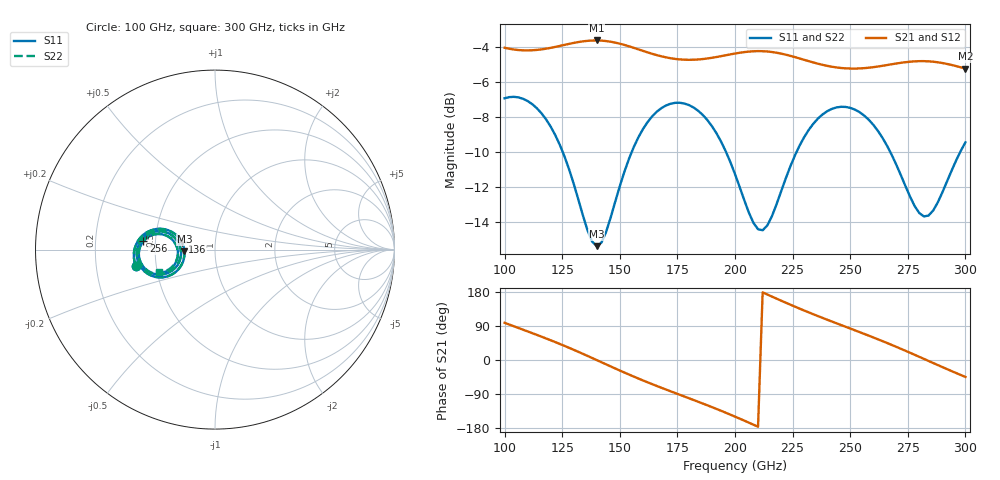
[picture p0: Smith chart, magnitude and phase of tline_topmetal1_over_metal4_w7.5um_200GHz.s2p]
#  GHZ S DB R 50
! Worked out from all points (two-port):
!   101 points, 100 GHz to 300 GHz, reference 50 ohm
!   highest |S21| = -3.64 dB at 140 GHz (marker M1); lowest = -5.2 dB at 300 GHz (marker M2)
!   |S21| within 3 dB of the highest: start of sweep to end of sweep
!   lowest |S11| = -15.4 dB at 140 GHz (marker M3), VSWR 1.41, Z = 35.5 - j0.705 ohm
!   |S11| at or under -10 dB: 125.2 GHz to 155.2 GHz (30.02 GHz wide, 21.4 % of centre); 196.1 GHz to 226.7 GHz (30.66 GHz wide, 14.5 % of centre); 267.4 GHz to 297.8 GHz (30.44 GHz wide, 10.8 % of centre)
!   |S22| runs from -15.3 to -6.9 dB; largest |S21 - S12| = 7.1e-14
!   S11 on the Smith chart (normalised r, x): 100 GHz: 0.38, -0.09; 136 GHz: 0.69, +0.06; 256 GHz: 0.43, +0.05; 300 GHz: 0.51, -0.15
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100  -6.94 -168.3  -4.06 98.2  -4.06 98.2  -6.94 -168.2
108  -6.97 179.6  -4.21 80.0  -4.21 80.0  -6.97 179.6
118  -8.14 165.7  -4.11 56.9  -4.11 56.9  -8.14 165.8
126  -10.26 158.1  -3.89 37.2  -3.89 37.2  -10.24 158.3
134  -13.63 162.4  -3.69 16.2  -3.69 16.2  -13.59 162.5
136  -14.48 167.5  -3.66 10.8  -3.66 10.8  -14.44 167.6
140  -15.38 -176.7  -3.64 -0.2  -3.64 -0.2  -15.33 -176.8
146  -13.76 -155.2  -3.71 -16.8  -3.71 -16.8  -13.72 -155.4
154  -10.39 -150.5  -3.98 -38.4  -3.98 -38.4  -10.38 -150.6
168  -7.51 -165.6  -4.54 -73.1  -4.54 -73.1  -7.50 -165.7
184  -7.65 172.9  -4.73 -110.2  -4.73 -110.2  -7.64 172.9
200  -11.27 160.6  -4.39 -149.4  -4.39 -149.4  -11.22 160.8
208  -14.05 172.5  -4.26 -170.7  -4.26 -170.7  -13.96 172.6
212  -14.47 -174.1  -4.26 178.4  -4.26 178.4  -14.37 -174.3
222  -11.53 -153.8  -4.45 151.3  -4.45 151.3  -11.48 -154.3
234  -8.39 -160.3  -4.90 120.7  -4.90 120.7  -8.38 -160.7
244  -7.47 -172.2  -5.18 97.0  -5.18 97.0  -7.46 -172.5
256  -7.92 173.3  -5.22 69.1  -5.22 69.1  -7.91 173.1
268  -10.17 164.0  -5.00 39.8  -5.00 39.8  -10.15 163.7
282  -13.68 -177.7  -4.82 2.9  -4.82 2.9  -13.64 -178.1
290  -12.31 -159.3  -4.93 -18.6  -4.93 -18.6  -12.29 -159.9
300  -9.46 -157.2  -5.25 -44.7  -5.25 -44.7  -9.46 -157.9
